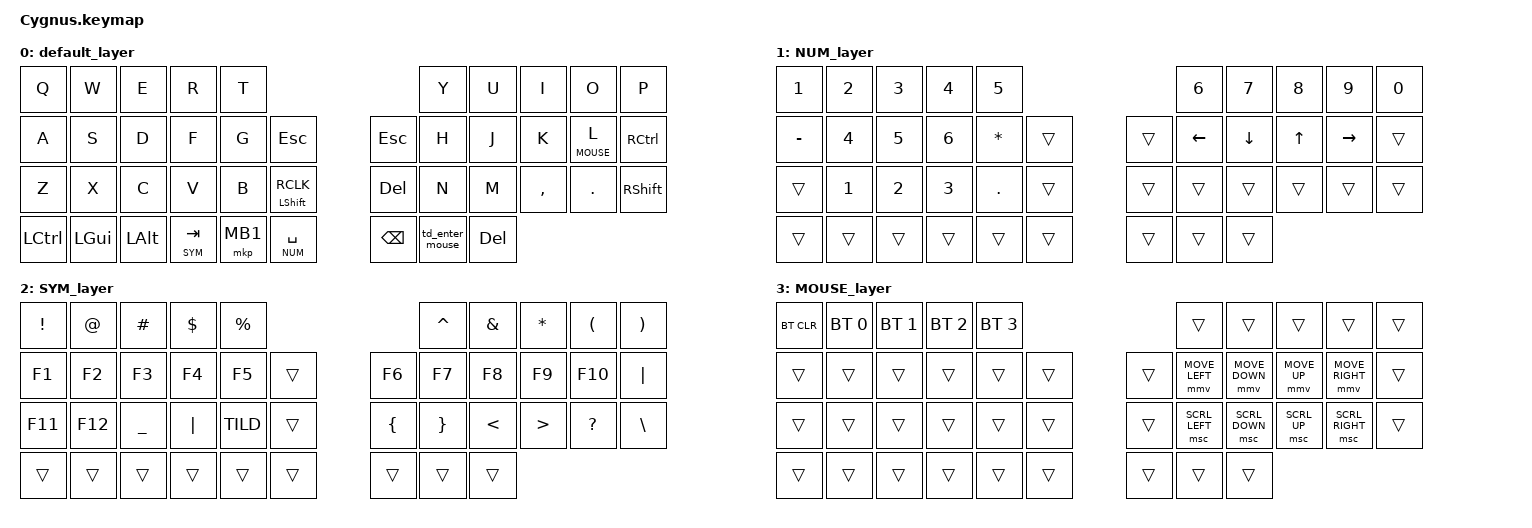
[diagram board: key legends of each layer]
#include <behaviors.dtsi>
#include <dt-bindings/zmk/bt.h>
#include <dt-bindings/zmk/keys.h>
#include <dt-bindings/zmk/pointing.h>

#define DEFAULT 0
#define NUM     1
#define SYM     2
#define MOUSE   3

&mt {
    flavor = "balanced";
    tapping-term-ms = <200>;
    quick-tap-ms = <0>;
};

/ {
    behaviors {
        /* 28番: タップで右クリック、長押しでShift */
        mt_shift_rclk: mt_shift_rclk {
            compatible = "zmk,behavior-hold-tap";
            #binding-cells = <2>;
            flavor = "tap-preferred";
            tapping-term-ms = <200>;
            bindings = <&kp>, <&mkp>;
        };

        /* 42番: タップでEnter、2回タップでUndo、長押しでMOUSEレイヤー */
        td_enter_mouse: td_enter_mouse {
            compatible = "zmk,behavior-tap-dance";
            #binding-cells = <0>;
            tapping-term-ms = <200>;
            bindings = <&lt MOUSE ENTER>, <&kp LC(Z)>;
        };
    };

    combos {
        compatible = "zmk,combos";
        global-quick-tap-ms = <75>;
        /* 11(A)+12(S) で英数 / 19(J)+20(K) でかな */
        combo_lang_eng { key-positions = <10 11>; bindings = <&kp LANGUAGE_2>; }; 
        combo_lang_jp  { key-positions = <18 19>; bindings = <&kp LANGUAGE_1>; }; 
    };

    keymap {
        compatible = "zmk,keymap";

        default_layer {
            bindings = <
/* 01-10 */ &kp Q &kp W &kp E &kp R &kp T                               &kp Y &kp U &kp I &kp O &kp P
/* 11-22 */ &kp A &kp S &kp D &kp F &kp G &kp ESC           &kp ESC       &kp H &kp J &kp K &lt MOUSE L &kp RCTRL
/* 23-34 */ &kp Z &kp X &kp C &kp V &kp B &mt_shift_rclk LSHIFT RCLK     &kp DEL &kp N &kp M &kp COMMA &kp DOT &kp RSHIFT
/* 35-43 */ &kp LCTRL &kp LGUI &kp LALT &lt SYM TAB &mkp MB1 &lt NUM SPACE &kp BACKSPACE &td_enter_mouse &kp DEL
            >;
        };

        NUM_layer {
            bindings = <
&kp N1 &kp N2 &kp N3 &kp N4 &kp N5                      &kp N6 &kp N7 &kp N8 &kp N9 &kp N0
&kp MINUS &kp N4 &kp N5 &kp N6 &kp ASTERISK &trans  &trans &kp LEFT &kp DOWN &kp UP &kp RIGHT &trans
&trans &kp N1 &kp N2 &kp N3 &kp PERIOD &trans     &trans &trans &trans &trans &trans &trans
&trans &trans &trans &trans &trans &trans           &trans &trans &trans
            >;
        };

        SYM_layer {
            bindings = <
&kp EXCL &kp AT &kp HASH &kp DLLR &kp PRCNT             &kp CARET &kp AMPS &kp STAR &kp LPAR &kp RPAR
&kp F1 &kp F2 &kp F3 &kp F4 &kp F5 &trans             &kp F6 &kp F7 &kp F8 &kp F9 &kp F10 &kp PIPE
&kp F11 &kp F12 &kp UNDER &kp PIPE &kp TILD &trans    &kp LBRC &kp RBRC &kp LT &kp GT &kp QMARK &kp BSLH
&trans &trans &trans &trans &trans &trans           &trans &trans &trans
            >;
        };

        MOUSE_layer {
            bindings = <
&bt BT_CLR &bt BT_SEL 0 &bt BT_SEL 1 &bt BT_SEL 2 &bt BT_SEL 3  &trans &trans &trans &trans &trans
&trans &trans &trans &trans &trans &trans           &trans &mmv MOVE_LEFT &mmv MOVE_DOWN &mmv MOVE_UP &mmv MOVE_RIGHT &trans
&trans &trans &trans &trans &trans &trans           &trans &msc SCRL_LEFT &msc SCRL_DOWN &msc SCRL_UP &msc SCRL_RIGHT &trans
&trans &trans &trans &trans &trans &trans           &trans &trans &trans
            >;
        };
    };
};
